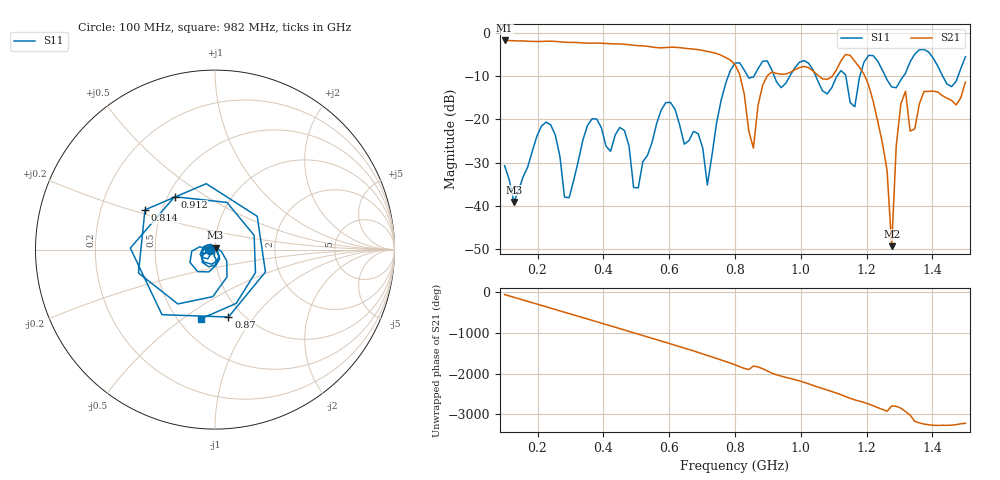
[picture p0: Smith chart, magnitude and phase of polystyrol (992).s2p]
! NanoVNA-App
! Date: 2025-09-25 15:37:36
! Start: 100MHz Stop: 1,5GHz Points: 101
! S-Parameter data: F S11 S21 S12 S22
# Hz S RI R 50
!  Frequency  S11_Real  S11_Imag  S21_Real  S21_Imag  S12_Real  S12_Imag  S22_Real  S22_Imag
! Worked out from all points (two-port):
!   101 points, 100 MHz to 1.5 GHz, reference 50 ohm
!   highest |S21| = -1.80 dB at 100 MHz (marker M1); lowest = -49.3 dB at 1.276 GHz (marker M2)
!   |S21| within 3 dB of the highest: start of sweep to 743.2 MHz
!   lowest |S11| = -39.1 dB at 128 MHz (marker M3), VSWR 1.02, Z = 50.3 + j1.06 ohm
!   |S11| at or under -10 dB: start of sweep to 779.8 MHz; 1.045 GHz to 1.11 GHz (64.98 MHz wide, 6.03 % of centre); 1.256 GHz to 1.312 GHz (55.68 MHz wide, 4.34 % of centre) (the widest 3 of 7)
!   S12 and S22 are empty: the file has one direction only
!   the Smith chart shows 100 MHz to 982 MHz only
!   S11 on the Smith chart (normalised r, x): 100 MHz: 0.94, -0.01; 814 MHz: 0.40, +0.22; 870 MHz: 0.86, -0.75; 912 MHz: 0.54, +0.37; 982 MHz: 0.64, -0.59
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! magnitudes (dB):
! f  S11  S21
! 100 MHz  -30.7  -1.8
! 128 MHz  -39.1  -1.9
! 212 MHz  -21.6  -2.0
! 282 MHz  -38.0  -2.2
! 338 MHz  -24.7  -2.4
! 464 MHz  -22.6  -2.7
! 506 MHz  -35.8  -3.0
! 576 MHz  -17.8  -3.5
! 716 MHz  -35.2  -4.3
! 800 MHz  -7.0  -7.4
! 814 MHz  -7.0  -9.6
! 856 MHz  -10.2  -26.6
! 870 MHz  -8.3  -16.8
! 912 MHz  -8.6  -9.1
! 982 MHz  -8.1  -8.5
! 1.038 GHz  -8.7  -8.9
! 1.192 GHz  -6.8  -9.6
! 1.262 GHz  -10.9  -31.8
! 1.276 GHz  -12.5  -49.3
! 1.29 GHz  -12.7  -26.0
! 1.318 GHz  -9.4  -13.5
! 1.5 GHz  -5.6  -11.4
